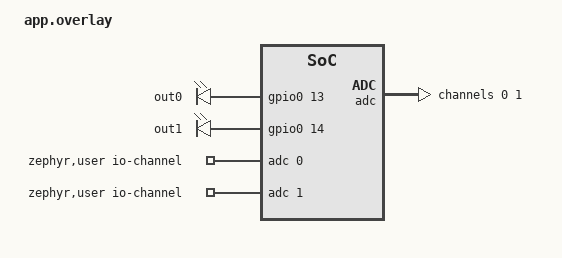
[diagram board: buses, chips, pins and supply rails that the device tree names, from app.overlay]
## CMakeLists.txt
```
cmake_minimum_required(VERSION 3.20.0)
find_package(Zephyr REQUIRED HINTS $ENV{ZEPHYR_BASE})

project(led_blink_threaded)

target_sources(app PRIVATE src/main.c)
```

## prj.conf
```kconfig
CONFIG_GPIO=y
CONFIG_ADC=y

# New USB stack
CONFIG_USB_DEVICE_STACK_NEXT=y
CONFIG_USBD_CDC_ACM_CLASS=y

# Console over USB
CONFIG_SERIAL=y
CONFIG_CONSOLE=y
CONFIG_UART_CONSOLE=y
CONFIG_UART_LINE_CTRL=y

# Logging (optional but helpful)
CONFIG_LOG=y
```

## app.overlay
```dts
/ {
    gpio_outputs {
        compatible = "gpio-leds";
        out0: output_0 {
            gpios = <&gpio0 13 GPIO_ACTIVE_HIGH>;
        };
        out1: output_1 {
            gpios = <&gpio0 14 GPIO_ACTIVE_HIGH>;
        };
    };

    aliases {
        gpioout0 = &out0;
        gpioout1 = &out1;
    };

    zephyr,user {
        io-channels = <&adc 0>, <&adc 1>;
    };
};

&adc {
    #address-cells = <1>;
    #size-cells = <0>;
    status = "okay";

    channel@0 {
        reg = <0>;
        zephyr,gain = "ADC_GAIN_1_6";
        zephyr,reference = "ADC_REF_INTERNAL";
        zephyr,acquisition-time = <ADC_ACQ_TIME_DEFAULT>;
        zephyr,input-positive = <NRF_SAADC_AIN0>;
        zephyr,resolution = <12>;
    };

    channel@1 {
        reg = <1>;
        zephyr,gain = "ADC_GAIN_1_6";
        zephyr,reference = "ADC_REF_INTERNAL";
        zephyr,acquisition-time = <ADC_ACQ_TIME_DEFAULT>;
        zephyr,input-positive = <NRF_SAADC_AIN2>;
        zephyr,resolution = <12>;
    };
};
```

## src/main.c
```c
#include <zephyr/kernel.h>
#include <zephyr/device.h>
#include <zephyr/drivers/gpio.h>
#include <zephyr/drivers/adc.h>
#include <zephyr/usb/usbd.h>

/* ── USB device setup (new stack) ──────────────────────────────── */
USBD_DEVICE_DEFINE(usbd_dev,
                   DEVICE_DT_GET(DT_NODELABEL(zephyr_udc0)),
                   0x2FE3, 0x0001);

USBD_DESC_LANG_DEFINE(usbd_lang);
USBD_DESC_MANUFACTURER_DEFINE(usbd_mfr, "Custom");
USBD_DESC_PRODUCT_DEFINE(usbd_product, "ADC Reader");
USBD_DESC_SERIAL_NUMBER_DEFINE(usbd_sn);
USBD_CONFIGURATION_DEFINE(fs_config, USB_SCD_SELF_POWERED, 200);

static int usb_init(void)
{
    int err;

    err = usbd_add_descriptor(&usbd_dev, &usbd_lang);
    if (err) { return err; }

    err = usbd_add_descriptor(&usbd_dev, &usbd_mfr);
    if (err) { return err; }

    err = usbd_add_descriptor(&usbd_dev, &usbd_product);
    if (err) { return err; }

    err = usbd_add_descriptor(&usbd_dev, &usbd_sn);
    if (err) { return err; }

    err = usbd_add_configuration(&usbd_dev, USBD_SPEED_FS, &fs_config);
    if (err) { return err; }

    err = usbd_register_all_classes(&usbd_dev, USBD_SPEED_FS, &fs_config);
    if (err) { return err; }

    err = usbd_init(&usbd_dev);
    if (err) { return err; }

    return usbd_enable(&usbd_dev);
}

/* ── ADC channels from devicetree ──────────────────────────────── */
static const struct adc_dt_spec adc_channels[] = {
    ADC_DT_SPEC_GET_BY_IDX(DT_PATH(zephyr_user), 0),
    ADC_DT_SPEC_GET_BY_IDX(DT_PATH(zephyr_user), 1),
};

#define NUM_CHANNELS ARRAY_SIZE(adc_channels)

/* ── GPIO outputs from devicetree overlay ──────────────────────── */
#define GPIO_OUT_NODE(n) DT_ALIAS(gpioout##n)

static const struct gpio_dt_spec gpio_out[] = {
    GPIO_DT_SPEC_GET(GPIO_OUT_NODE(0), gpios),
    GPIO_DT_SPEC_GET(GPIO_OUT_NODE(1), gpios),
};

#define NUM_OUTPUTS ARRAY_SIZE(gpio_out)

/* ── Thread config ─────────────────────────────────────────────── */
#define STACK_SIZE       1024
#define GPIO_PRIORITY    5
#define ADC_PRIORITY     5

/* ── Context structs ───────────────────────────────────────────── */
struct output_ctx {
    const struct gpio_dt_spec *spec;
    uint32_t interval_ms;
};

struct sample_ctx {
    const struct adc_dt_spec *spec;
    uint32_t sample_interval_ms;
};

/* ── Stacks and thread objects ─────────────────────────────────── */
K_THREAD_STACK_ARRAY_DEFINE(gpio_stacks, 2, STACK_SIZE);
K_THREAD_STACK_ARRAY_DEFINE(adc_stacks, 2, STACK_SIZE);
static struct k_thread gpio_threads[2];
static struct k_thread adc_threads[2];

static struct output_ctx gpio_ctx[] = {
    { .spec = &gpio_out[0], .interval_ms = 500  },
    { .spec = &gpio_out[1], .interval_ms = 1000 },
};

static struct sample_ctx adc_ctx[] = {
    { .spec = &adc_channels[0], .sample_interval_ms = 500  },
    { .spec = &adc_channels[1], .sample_interval_ms = 500  },
};

/* ── Thread functions ──────────────────────────────────────────── */
static void output_toggle_thread(void *p1, void *p2, void *p3)
{
    struct output_ctx *c = (struct output_ctx *)p1;

    while (1) {
        gpio_pin_toggle_dt(c->spec);
        k_sleep(K_MSEC(c->interval_ms));
    }
}

static void adc_sample_thread(void *p1, void *p2, void *p3)
{
    struct sample_ctx *c = (struct sample_ctx *)p1;
    int16_t buf;
    struct adc_sequence sequence = {
        .buffer = &buf,
        .buffer_size = sizeof(buf),
    };

    adc_sequence_init_dt(c->spec, &sequence);

    while (1) {
        int ret = adc_read_dt(c->spec, &sequence);
        if (ret == 0) {
            int32_t mv = (int32_t)buf;
            adc_raw_to_millivolts_dt(c->spec, &mv);
            printk("Ch %d: %d mV\n", c->spec->channel_id, mv);
        }
        k_sleep(K_MSEC(c->sample_interval_ms));
    }
}

/* ── Main ──────────────────────────────────────────────────────── */
int main(void)
{
    /* Initialize USB console */
    int err = usb_init();
    if (err) {
        printk("USB init failed: %d\n", err);
        return err;
    }

    /* Give host time to enumerate USB device */
    k_sleep(K_SECONDS(2));

    printk("ADC + GPIO app started\n");

    /* Initialize GPIO outputs */
    for (int i = 0; i < NUM_OUTPUTS; i++) {
        if (!gpio_is_ready_dt(&gpio_out[i])) {
            printk("GPIO %d not ready\n", i);
            return -ENODEV;
        }
        if (gpio_pin_configure_dt(&gpio_out[i], GPIO_OUTPUT_INACTIVE) < 0) {
            printk("Failed to configure GPIO %d\n", i);
            return -EIO;
        }
    }

    /* Initialize ADC channels */
    for (int i = 0; i < NUM_CHANNELS; i++) {
        if (!adc_is_ready_dt(&adc_channels[i])) {
            printk("ADC ch %d not ready\n", i);
            return -ENODEV;
        }
        if (adc_channel_setup_dt(&adc_channels[i]) < 0) {
            printk("Failed to setup ADC ch %d\n", i);
            return -EIO;
        }
    }

    /* Spawn GPIO threads */
    for (int i = 0; i < NUM_OUTPUTS; i++) {
        k_thread_create(&gpio_threads[i], gpio_stacks[i], STACK_SIZE,
                        output_toggle_thread,
                        &gpio_ctx[i], NULL, NULL,
                        GPIO_PRIORITY, 0, K_NO_WAIT);
    }

    /* Spawn ADC threads */
    for (int i = 0; i < NUM_CHANNELS; i++) {
        k_thread_create(&adc_threads[i], adc_stacks[i], STACK_SIZE,
                        adc_sample_thread,
                        &adc_ctx[i], NULL, NULL,
                        ADC_PRIORITY, 0, K_NO_WAIT);
    }

    return 0;
}
```
